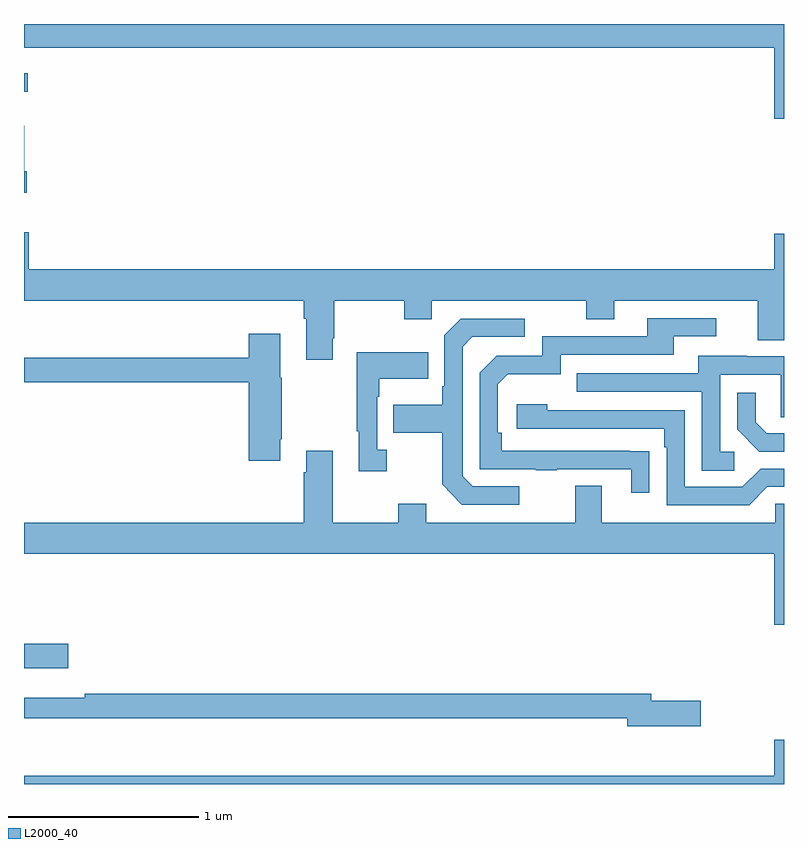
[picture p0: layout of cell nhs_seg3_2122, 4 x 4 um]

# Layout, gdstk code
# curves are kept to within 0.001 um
import gdstk
lib = gdstk.Library(unit=1e-6, precision=1e-09)
def R(c, l, rs):  # rectangles x0, y0, x1, y1
    for r in rs: c.add(gdstk.rectangle(r[:2], r[2:], *l))
def P(c, l, *ps):  # polygons
    for p in ps: c.add(gdstk.Polygon(p, *l))
L2000_40 = (2000, 40)

nhs_seg3_2122 = lib.new_cell('nhs_seg3_2122')
R(nhs_seg3_2122, L2000_40, [(221,671.009,221.233,671.139), (221,674.043,221.02,674.14)])
P(nhs_seg3_2122, L2000_40, [(225,674.4),(221,674.4),(221,674.276),(224.948,674.276),(224.948,673.902),(225,673.902)],
  [(221.015,673.624),(221.002,673.624),(221.002,673.864),(221,673.864),(221,673.512),(221.015,673.512)],
  [(222.625,672.745),(222.633,672.745),(222.633,672.944),(223,672.944),(223,672.845),(223.146,672.845),(223.146,672.944),(223.96,672.944),(223.96,672.845),(224.107,672.845),(224.107,672.944),(224.861,672.944),(224.861,672.736),(225,672.736),(225,673.297),(224.948,673.297),(224.948,673.108),(221.024,673.108),(221.024,673.303),(221,673.303),(221,672.944),(222.473,672.944),(222.473,672.848),(222.485,672.848),(222.485,672.633),(222.625,672.633)],
  [(224.291,672.152),(223.514,672.153),(223.514,672.25),(223.494,672.25),(223.494,672.504),(223.547,672.557),(223.824,672.557),(223.824,672.66),(224.419,672.66),(224.419,672.756),(224.644,672.756),(224.644,672.852),(224.279,672.852),(224.279,672.756),(223.728,672.756),(223.728,672.654),(223.488,672.654),(223.398,672.564),(223.398,672.057),(223.693,672.057),(223.693,672.052),(223.805,672.052),(223.805,672.057),(224.195,672.057),(224.195,671.934),(224.291,671.934)],
  [(223.606,671.967),(223.362,671.967),(223.308,672.021),(223.308,672.702),(223.359,672.753),(223.636,672.753),(223.636,672.849),(223.299,672.849),(223.212,672.762),(223.212,672.493),(223.2,672.493),(223.2,672.397),(222.943,672.397),(222.943,672.25),(223.2,672.25),(223.2,671.977),(223.305,671.871),(223.606,671.871)],
  [(222.349,672.214),(222.357,672.214),(222.357,672.537),(222.349,672.537),(222.349,672.769),(222.182,672.769),(222.182,672.643),(221,672.643),(221,672.514),(222.182,672.514),(222.182,672.102),(222.349,672.102)],
  [(222.91,672.158),(222.858,672.158),(222.858,672.437),(222.871,672.437),(222.871,672.533),(223.127,672.533),(223.127,672.673),(222.75,672.673),(222.75,672.257),(222.761,672.257),(222.761,672.045),(222.91,672.045)],
  [(224.737,672.15),(224.664,672.15),(224.664,672.555),(224.982,672.555),(224.982,672.331),(225,672.331),(225,672.651),(224.803,672.651),(224.803,672.655),(224.549,672.655),(224.549,672.561),(223.909,672.561),(223.909,672.465),(224.568,672.465),(224.568,672.049),(224.737,672.049)],
  [(225,672.246),(224.908,672.246),(224.851,672.303),(224.851,672.46),(224.754,672.46),(224.754,672.266),(224.87,672.15),(225,672.15)],
  [(224.913,671.964),(225,671.964),(225,672.06),(224.877,672.06),(224.781,671.964),(224.478,671.964),(224.478,672.366),(223.754,672.366),(223.754,672.4),(223.593,672.4),(223.593,672.27),(224.369,672.27),(224.369,672.173),(224.382,672.173),(224.382,671.868),(224.817,671.868)],
  [(225,671.874),(224.955,671.874),(224.955,671.776),(224.041,671.776),(224.041,671.971),(223.901,671.971),(223.901,671.776),(223.117,671.776),(223.117,671.875),(222.97,671.875),(222.97,671.776),(222.625,671.776),(222.625,672.154),(222.485,672.154),(222.485,672.041),(222.473,672.041),(222.473,671.776),(221,671.776),(221,671.612),(224.948,671.612),(224.948,671.238),(225,671.238)],
  [(224.563,670.838),(224.302,670.838),(224.302,670.874),(221.32,670.874),(221.32,670.855),(221.068,670.855),(221.068,670.854),(221,670.854),(221,670.746),(224.174,670.746),(224.174,670.703),(224.563,670.703)],
  [(225,670.633),(224.948,670.633),(224.948,670.444),(221,670.444),(221,670.4),(225,670.4)])

lib.write_gds('nhs_seg3_2122.gds')
